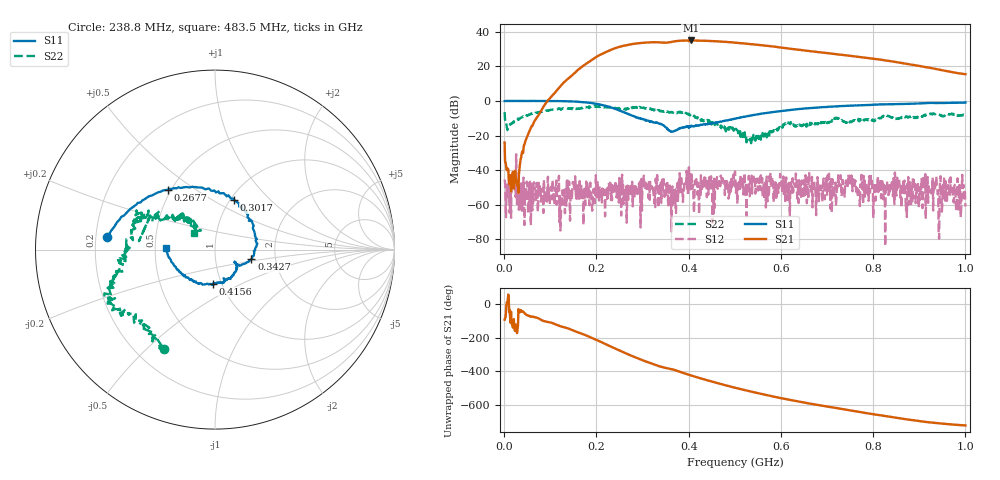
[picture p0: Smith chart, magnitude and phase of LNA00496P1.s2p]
! Created with skrf 1.9.0 (http://scikit-rf.org).
# Hz S RI R 50.0
!freq ReS11 ImS11 ReS21 ImS21 ReS12 ImS12 ReS22 ImS22
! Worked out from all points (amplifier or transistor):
!   1001 points, 1 MHz to 1 GHz, reference 50 ohm
!   highest |S21| = 35.0 dB at 404.6 MHz (marker M1)
!   |S21| within 3 dB of that: 260.4 MHz to 566 MHz (305.5 MHz wide, 73.9 % of centre)
!   unconditionally stable (mu >= 1): 206.8 MHz to 255.6 MHz; 302.9 MHz to 395.5 MHz; 400.6 MHz to end of sweep (the widest 3 of 39)
!   at 166.8 MHz: K = 1.13, MAG = 31.4 dB, |S12| = -47.8 dB
!   at 500.5 MHz: K = 1.21, MAG = 34.5 dB, |S12| = -40.7 dB
!   at 1 GHz: K = 14.62, MAG = 23.6 dB, |S12| = -61.0 dB
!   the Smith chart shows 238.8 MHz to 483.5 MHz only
!   S11 on the Smith chart (normalised r, x): 238.8 MHz: 0.25, +0.06; 267.7 MHz: 0.48, +0.39; 301.7 MHz: 1.04, +0.63; 342.7 MHz: 1.50, -0.17; 415.6 MHz: 0.91, -0.36; 483.5 MHz: 0.57, +0.01
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1000000  0.9904 -0.000123  -0.00253 -0.0628  -0.00529 -0.000788  0.33 0.3412
1.08892e8  0.5295 -0.8455  -0.7618 -1.492  -0.000917 0.000381  0.4325 -0.3797
1.67833e8  -0.2215 -0.9062  -9.566 -0.7667  0.00156 -0.000271  0.0581 -0.6337
2.08792e8  -0.661 -0.4178  -15.73 15.27  0.00221 -0.000788  -0.1896 -0.6468
2.38762e8  -0.6008 0.0718  -4.195 32.58  -0.00255 -0.00113  -0.2823 -0.555
2.67733e8  -0.2626 0.3335  19.62 36.75  0.00131 -0.00334  -0.4854 -0.3566
3.01699e8  0.1071 0.2762  44.1 19.01  -0.00364 0.00104  -0.5983 -0.213
3.18682e8  0.2088 0.1487  49.46 5.205  -0.0022 0.00207  -0.554 -0.1434
3.34666e8  0.2244 0.00846  48.76 -8.26  -0.000773 -0.000242  -0.5319 -0.0739
3.42658e8  0.2026 -0.0537  46.8 -13.65  -0.00254 0.00465  -0.4947 -0.0424
3.74626e8  0.1181 -0.0819  42.18 -33.53  -0.0027 -0.00113  -0.4117 0.1601
4.04596e8  0.0471 -0.1855  23.03 -51.19  0.00195 0.00734  -0.3119 0.1776
4.15585e8  -0.0127 -0.1897  14.89 -53.78  0.00371 0.00148  -0.2849 0.17
4.45555e8  -0.1551 -0.1545  -8.217 -53.53  0.00276 0.00087  -0.1752 0.1788
4.83517e8  -0.2747 0.008  -30.96 -40.09  0.00374 -0.00256  -0.1174 0.0907
5.005e8  -0.2895 0.1071  -37.12 -31.6  0.00903 -0.00163  -0.0989 0.0947
5.41459e8  -0.2276 0.3202  -41.93 -10.08  0.00595 -0.0003  -0.0901 0.00723
5.88412e8  -0.0437 0.4867  -35.42 9.733  0.0043 -0.00098  -0.1216 -0.0689
6.67333e8  0.3323 0.5343  -14.83 22.61  0.00219 -0.00599  -0.2002 -0.0597
7.55245e8  0.6423 0.3597  2.517 19.6  -0.00194 -0.00151  -0.2592 0.0157
8.34166e8  0.7941 0.1306  9.673 10.62  0.00361 0.00152  -0.369 -0.0015
1e9  0.8077 -0.4016  5.917 -0.5592  -0.000888 -8.4e-05  -0.2818 0.2872
